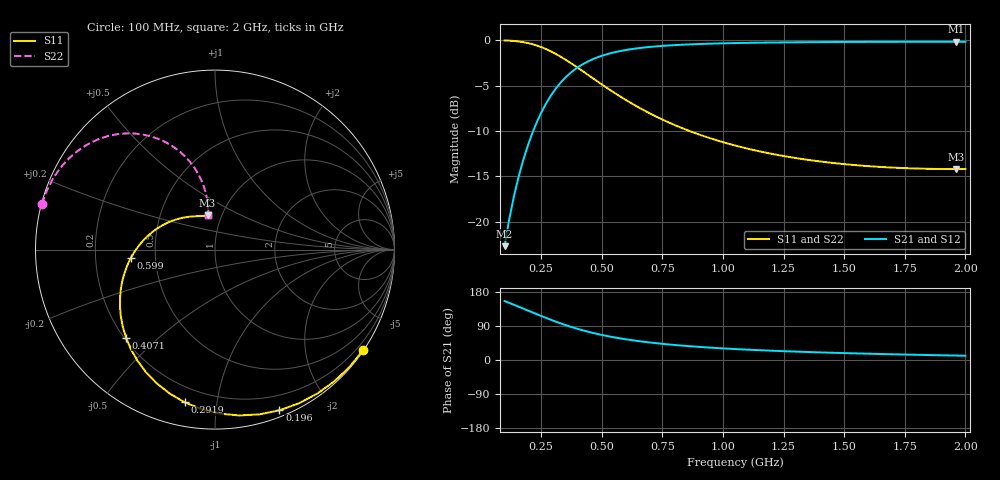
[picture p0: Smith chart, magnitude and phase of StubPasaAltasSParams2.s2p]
! Created Sat Nov 25 14:13:25 2023
# hz S ri R 50
! 2 Port Network Data from SP1.SP block
! freq  reS11  imS11  reS21  imS21  reS12  imS12  reS22  imS22
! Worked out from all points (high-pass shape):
!   100 points, 100 MHz to 2 GHz, reference 50 ohm
!   highest |S21| = -0.17 dB at 1.962 GHz (marker M1); lowest = -22.7 dB at 100 MHz (marker M2)
!   |S21| within 3 dB of the highest: 392.2 MHz to end of sweep
!   lowest |S11| = -14.2 dB at 1.962 GHz (marker M3), VSWR 1.48, Z = 42.9 + j17 ohm
!   |S11| at or under -10 dB: 862.3 MHz to end of sweep
!   |S22| runs from -14.2 to 0.0 dB; largest |S21 - S12| = 1e-15
!   S11 on the Smith chart (normalised r, x): 100 MHz: 0.02, -3.25; 196 MHz: 0.06, -1.48; 291.9 MHz: 0.12, -0.81; 407.1 MHz: 0.21, -0.40; 599 MHz: 0.36, -0.04; 2 GHz: 0.86, +0.34
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1e8  0.8244 -0.5612  -0.0667 0.0304  -0.0667 0.0304  -0.9641 0.2552
1.191919e8  0.7513 -0.6519  -0.09 0.0507  -0.09 0.0507  -0.9467 0.3051
1.383838e8  0.6666 -0.7326  -0.1139 0.0778  -0.1139 0.0778  -0.9248 0.3545
1.767677e8  0.4685 -0.856  -0.1562 0.1528  -0.1562 0.1528  -0.8663 0.4493
1.959596e8  0.3593 -0.8953  -0.1712 0.1999  -0.1712 0.1999  -0.8294 0.4927
2.343434e8  0.135 -0.9241  -0.1814 0.3081  -0.1814 0.3081  -0.7424 0.5665
2.535354e8  0.0263 -0.9138  -0.1746 0.3658  -0.1746 0.3658  -0.6938 0.5953
2.919192e8  -0.1699 -0.8503  -0.1362 0.4791  -0.1362 0.4791  -0.5917 0.6339
3.30303e8  -0.3246 -0.7451  -0.0691 0.5785  -0.0691 0.5785  -0.4911 0.6476
3.494949e8  -0.3842 -0.6834  -0.0278 0.6201  -0.0278 0.6201  -0.4438 0.6463
4.070707e8  -0.4959 -0.4901  0.1115 0.7081  0.1115 0.7081  -0.3212 0.6188
4.262626e8  -0.5141 -0.4285  0.1592 0.7258  0.1592 0.7258  -0.2875 0.6044
5.030303e8  -0.5245 -0.2186  0.3365 0.7509  0.3365 0.7509  -0.1859 0.5369
5.989899e8  -0.4675 -0.0442  0.5095 0.7211  0.5095 0.7211  -0.1145 0.4554
6.565657e8  -0.4231 0.0233  0.5878 0.6891  0.5878 0.6891  -0.0897 0.4141
7.333333e8  -0.3654 0.0842  0.669 0.6418  0.669 0.6418  -0.0689 0.3686
8.868687e8  -0.27 0.1471  0.7767 0.5498  0.7767 0.5498  -0.049 0.3035
1.059596e9  -0.1946 0.174  0.8474 0.4624  0.8474 0.4624  -0.041 0.2578
1.366667e9  -0.1141 0.1855  0.9126 0.3459  0.9126 0.3459  -0.0375 0.2145
1.692929e9  -0.0665 0.1875  0.9457 0.2571  0.9457 0.2571  -0.0375 0.1954
1.961616e9  -0.0411 0.1906  0.9604 0.199  0.9604 0.199  -0.038 0.1913
2e9  -0.0381 0.1914  0.9619 0.1914  0.9619 0.1914  -0.0381 0.1914
